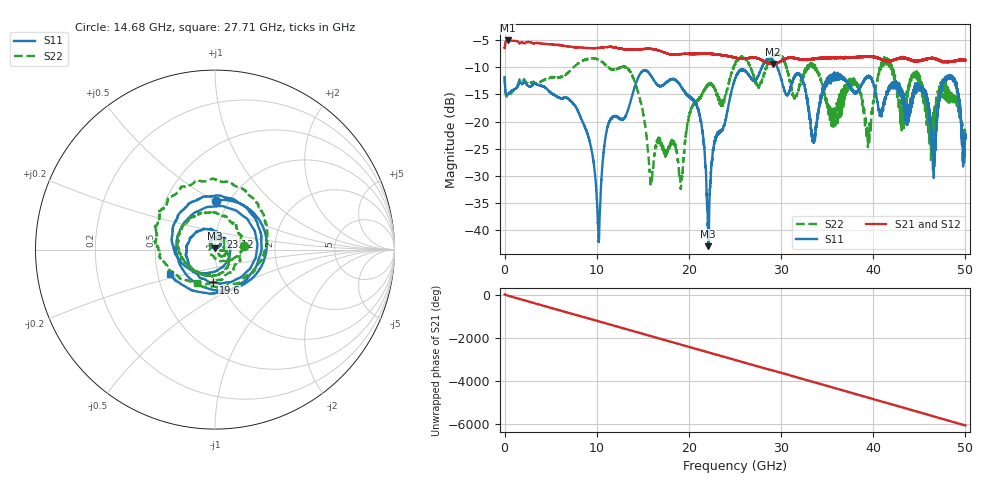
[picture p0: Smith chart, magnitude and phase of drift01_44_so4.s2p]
!Created with skrf (http://scikit-rf.org).
# Hz S RI R 50.0
!freq ReS11 ImS11 ReS21 ImS21 ReS12 ImS12 ReS22 ImS22
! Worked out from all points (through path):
!   10001 points, 300 kHz to 50 GHz, reference 50 ohm
!   highest |S21| = -5.06 dB at 325.3 MHz (marker M1); lowest = -9.4 dB at 29.12 GHz (marker M2)
!   group delay of S21, straight-line fit = 336 ps
!   lowest |S11| = -43.0 dB at 22.09 GHz (marker M3), VSWR 1.01, Z = 49.8 + j0.689 ohm
!   |S11| at or under -10 dB: start of sweep to 27.92 GHz; 29.59 GHz to end of sweep
!   |S22| runs from -32.4 to -7.4 dB; largest |S21 - S12| = 0.013
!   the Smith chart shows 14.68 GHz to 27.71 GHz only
!   S11 on the Smith chart (normalised r, x): 14.68 GHz: 0.87, +0.51; 19.6 GHz: 0.92, -0.35; 23.12 GHz: 1.05, +0.15; 27.71 GHz: 0.58, -0.17
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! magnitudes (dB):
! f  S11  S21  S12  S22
! 300 kHz  -11.8  -6.5  -6.5  -11.8
! 325.3 MHz  -15.0  -5.1  -5.1  -15.3
! 8.335 GHz  -19.5  -6.4  -6.4  -8.9
! 10.21 GHz  -41.7  -6.4  -6.4  -8.6
! 11.24 GHz  -20.6  -6.3  -6.3  -10.0
! 14.68 GHz  -11.3  -6.7  -6.7  -15.8
! 15.88 GHz  -11.5  -6.6  -6.6  -31.1
! 16.67 GHz  -13.3  -6.9  -6.9  -23.2
! 19.6 GHz  -14.7  -7.5  -7.5  -23.7
! 21.23 GHz  -19.4  -7.5  -7.5  -15.6
! 22.09 GHz  -43.0  -7.5  -7.5  -13.3
! 23.12 GHz  -22.1  -7.7  -7.7  -15.2
! 25 GHz  -12.1  -8.2  -8.3  -9.5
! 27.71 GHz  -10.9  -8.5  -8.5  -13.5
! 29.12 GHz  -8.7  -9.4  -9.4  -7.9
! 33.34 GHz  -22.7  -8.5  -8.5  -9.6
! 39.48 GHz  -11.6  -8.0  -8.0  -21.7
! 41.67 GHz  -13.9  -8.8  -8.8  -8.9
! 45.36 GHz  -13.7  -8.7  -8.7  -14.3
! 46.56 GHz  -27.4  -8.4  -8.4  -20.6
! 48.53 GHz  -11.9  -9.0  -9.0  -14.8
! 50 GHz  -22.8  -8.7  -8.6  -22.8
